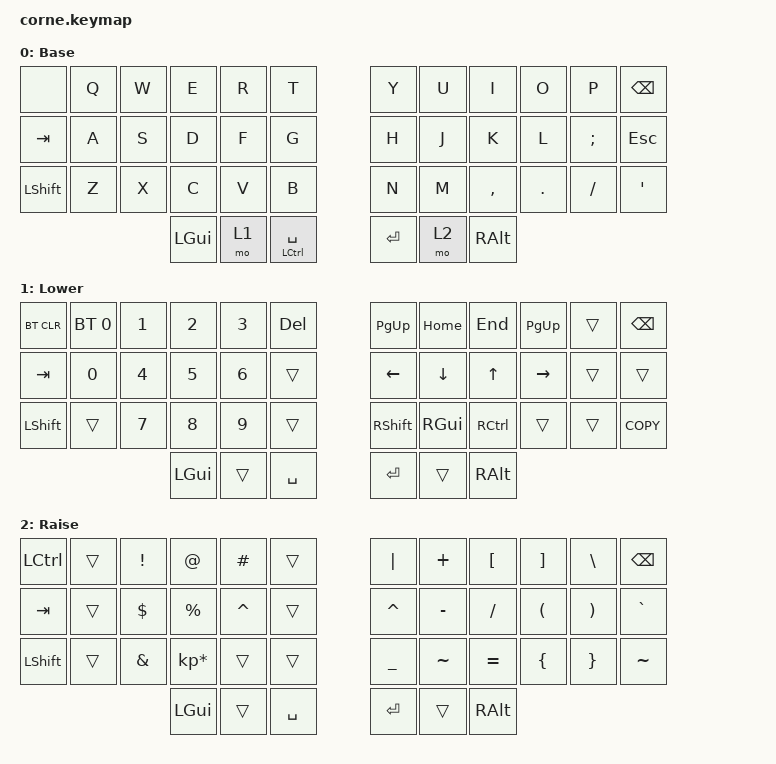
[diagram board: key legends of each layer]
/*
 * Copyright (c) 2020 The ZMK Contributors
 *
 * SPDX-License-Identifier: MIT
 */

#include <behaviors.dtsi>
#include <dt-bindings/zmk/keys.h>
#include <dt-bindings/zmk/bt.h>

/ {
	behaviors {
		ht_tp: hold_tap_tap_preferred {
			compatible = "zmk,behavior-hold-tap";
			#binding-cells = <2>;
			flavor = "tap-preferred";
			tapping-term-ms = <200>;
			bindings = <&kp>, <&kp>;
		};
	};

	combos {
		compatible = "zmk,combos";
		combo_del {
			timeout-ms = <50>;
			key-positions = <10 11>;
			bindings = <&kp DEL>;
		};	
	};

        keymap {
                compatible = "zmk,keymap";

                default_layer {
                        display-name = "Base";
                        bindings = <
   &none     &kp Q &kp W &kp E &kp R &kp T   	   &kp Y &kp U  &kp I     &kp O   &kp P    &kp BSPC
   &kp TAB   &kp A &kp S &kp D &kp F &kp G   	   &kp H &kp J  &kp K     &kp L   &kp SEMI &kp ESC
   &kp LSHFT &kp Z &kp X &kp C &kp V &kp B   	   &kp N &kp M  &kp COMMA &kp DOT &kp FSLH &kp SQT
                  &kp LGUI &mo 1 &mt LCTRL SPACE   &kp RET &mo 2 &kp RALT
                        >;
                };
                lower_layer {
                        display-name = "Lower";
                        bindings = <
   &bt BT_CLR &bt BT_SEL 0 &kp N1	&kp N2	     &kp N3	  &kp DEL        &kp PG_UP &kp HOME &kp END   &kp PG_UP &trans &kp BSPC
   &kp TAB    &kp N0       &kp N4	&kp N5       &kp N6       &trans         &kp LEFT  &kp DOWN &kp UP    &kp RIGHT &trans &trans
   &kp LSHFT  &trans       &kp N7	&kp N8       &kp N9       &trans         &kp RSHFT &kp RGUI &kp RCTRL &trans    &trans &kp K_COPY
                          	        &kp LGUI     &trans       &kp SPACE      &kp RET  &trans   &kp RALT
                        >;
                };

                raise_layer {
                        display-name = "Raise";
                        bindings = <
   &kp LCTRL &trans   &kp EXCL  &kp AT          &kp HASH  &trans   		&kp PIPE  &kp PLUS  	&kp LBKT         &kp RBKT &kp BSLH &kp BSPC
   &kp  TAB  &trans   &kp DLLR  &kp PRCNT       &kp CARET &trans   		&kp CARET &kp MINUS 	&kp FSLH 	 &kp LPAR &kp RPAR &kp GRAVE
   &kp LSHFT &trans   &kp AMPS  &kp KP_MULTIPLY &trans    &trans   		&kp UNDER &kp TILDE  	&kp EQUAL        &kp LBRC &kp RBRC &kp TILDE
                    	     	&kp LGUI        &trans    &kp SPACE		&kp RET   &trans    &kp RALT
                        >;
                };
        };
};
